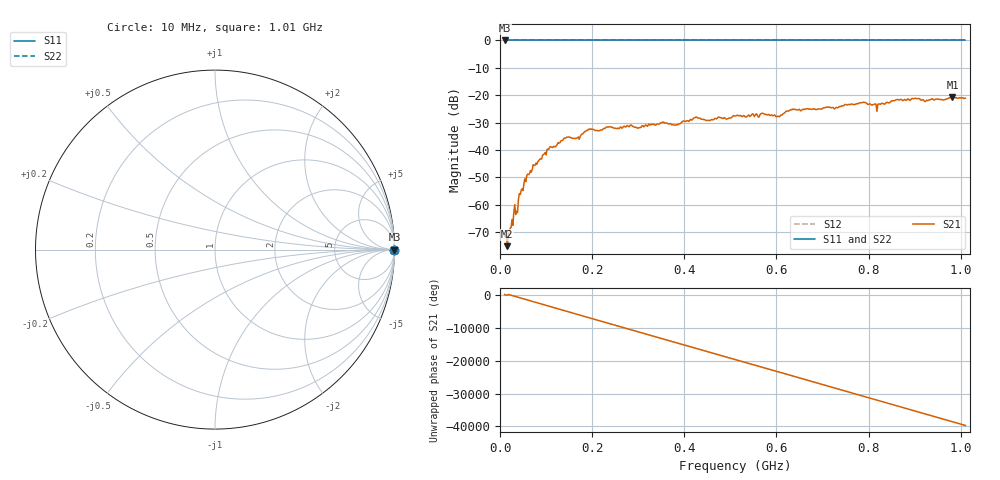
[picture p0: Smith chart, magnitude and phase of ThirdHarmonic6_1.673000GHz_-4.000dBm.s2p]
! 8/16/2025 8:03:43 PM
! C:\ANRITSUVNA\TEMP\TEMP.S2P
! CHANNEL.1
! TR.MEASUREMENT
! RAW.DATA
! RF.CORRECTION.OFF
! AVERAGING.OFF
! IF.BANDWIDTH: 5KHZ
! SWEEPTYPE:  FREQ.SWEEP(Linear)
! Reference Plane Port Info
! PORT:  PORT1  PORT2
! DISTANCE:  0  m  0  m
! TIME:  0  s  0  s
! PHASE.OFFSET:  0  deg.  0  deg.
! LOSS:  0  dB  0  dB
! REF.LOSS:  0  dB  0  dB
! REF.FREQ:  0  Hz  0  Hz
! Power Info
! POWER:  -20  dBm  -20  dBm
! EFF.POWER:  -20  dBm  -20  dBm
! SOURCE.ATTEN:  0  dB  0  dB
! TEST.ATTEN:  0  dB  0  dB
# GHZ S RI R 50.0
! FREQ.GHZ  S11RE  S11IM  S21RE  S21IM  S12RE  S12IM  S22RE  S22IM
!; PortSelection: Port_12
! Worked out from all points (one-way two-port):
!   501 points, 10 MHz to 1.01 GHz, reference 50 ohm
!   highest |S21| = -20.77 dB at 982 MHz (marker M1); lowest = -75.2 dB at 16 MHz (marker M2)
!   lowest |S11| = 0.0 dB at 10 MHz (marker M3)
!   |S11| at or under -10 dB: nowhere
!   |S22| runs from 0.0 to 0.0 dB; largest |S21 - S12| = 1.1
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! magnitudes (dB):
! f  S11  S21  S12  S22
! 10 MHz  0.0  -71.6  0.0  0.0
! 16 MHz  0.0  -75.2  0.0  0.0
! 38 MHz  0.0  -62.9  0.0  0.0
! 44 MHz  0.0  -56.3  0.0  0.0
! 56 MHz  0.0  -51.6  0.0  0.0
! 74 MHz  0.0  -45.7  0.0  0.0
! 106 MHz  0.0  -39.7  0.0  0.0
! 142 MHz  0.0  -35.7  0.0  0.0
! 168 MHz  0.0  -35.5  0.0  0.0
! 178 MHz  0.0  -34.2  0.0  0.0
! 196 MHz  0.0  -32.4  0.0  0.0
! 344 MHz  0.0  -30.6  0.0  0.0
! 382 MHz  0.0  -30.9  0.0  0.0
! 424 MHz  0.0  -28.2  0.0  0.0
! 452 MHz  0.0  -29.1  0.0  0.0
! 510 MHz  0.0  -27.6  0.0  0.0
! 604 MHz  0.0  -27.7  0.0  0.0
! 634 MHz  0.0  -25.3  0.0  0.0
! 678 MHz  0.0  -25.1  0.0  0.0
! 844 MHz  0.0  -22.8  0.0  0.0
! 982 MHz  0.0  -20.8  0.0  0.0
! 1.01 GHz  0.0  -21.1  0.0  0.0
